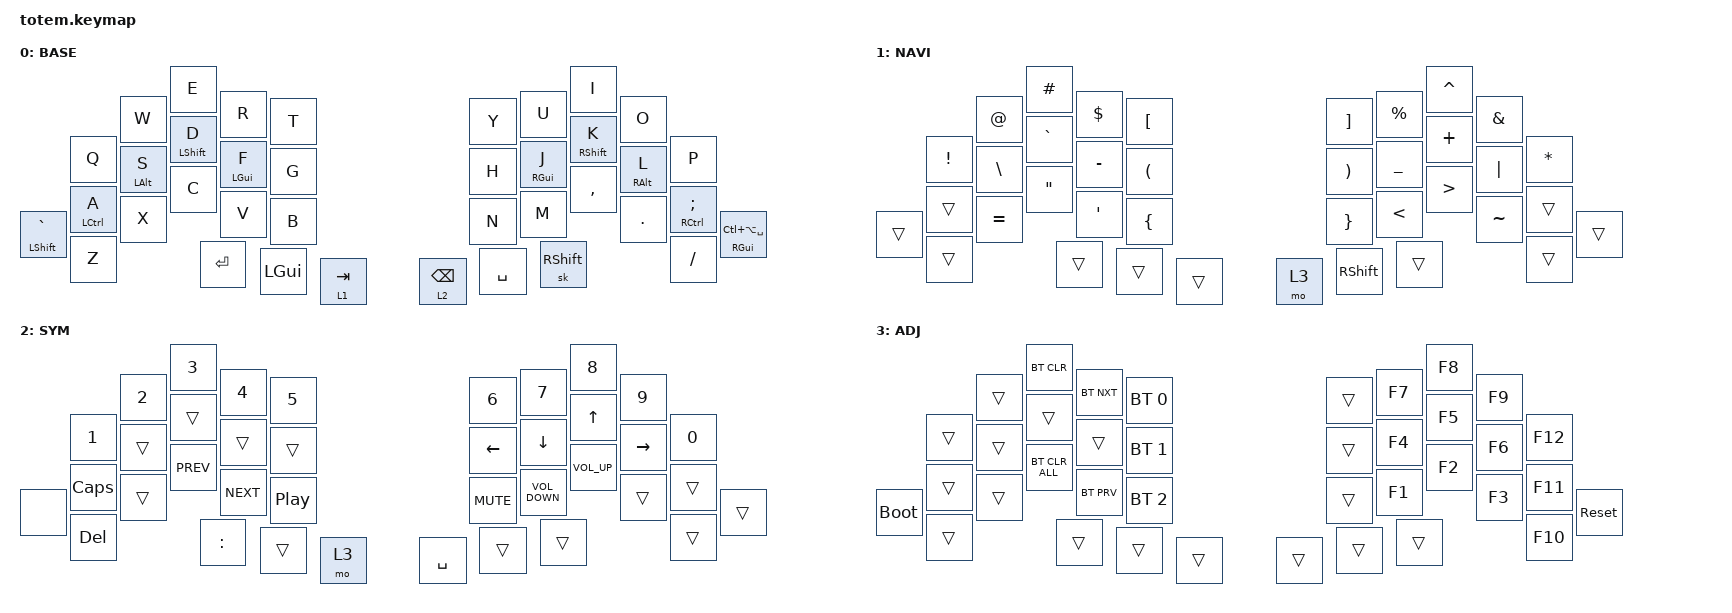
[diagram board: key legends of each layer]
//
//                                                        ▀▀▀▀▀     ▀▀▀▀▀          ▀▀█▀▀
//                                                        ▄▀▀▀▄  ▄  ▄▀▀▀▄  ▄  ▄▀▀▀▄  █  ▄▀▀▀▄
//                                                        █   █  █  █   █  █  █   █  █  █   █
//                                                         ▀▀▀   █   ▀▀▀   █   ▀▀▀   ▀   ▀▀▀
//                                                               █      ▄▄▄█▄▄▄    █   █  
//                                                               ▀      █  █  █     █▄█
//                                                             ▀▀▀▀▀    █  █  █      ▀
//                                                                      ▀  ▀  ▀
//
// ▄▄▄▄▄▄▄▄▄▄▄▄▄▄▄▄▄▄▄▄▄▄▄▄▄▄▄▄▄▄▄▄▄▄▄▄▄▄▄▄▄▄▄▄▄▄▄▄▄▄▄▄▄▄▄▄▄▄▄▄▄▄▄▄▄▄▄▄▄▄▄▄▄▄▄▄▄▄▄▄▄▄▄▄▄▄▄▄▄▄▄▄▄▄▄▄▄▄▄▄▄▄▄▄▄▄▄▄▄▄▄▄▄▄▄▄▄▄▄▄▄▄▄▄▄▄▄▄▄▄▄▄▄▄▄▄▄▄▄▄▄▄▄▄▄▄▄▄▄

#include "zmk-helpers/helper.h"

#define BASE 0
#define NAV  1
#define SYM  2
#define ADJ  3
#define TVP1 4
#define TVP2 5

#include "zmk-helpers/key-labels/totem.h"
#include <behaviors.dtsi>
#include <dt-bindings/zmk/bt.h>
#include <dt-bindings/zmk/keys.h>

#define KEYS_L LT0 LT1 LT2 LT3 LT4 LM0 LM1 LM2 LM3 LM4 LB0 LB1 LB2 LB3 LB4 LB5
#define KEYS_R RT0 RT1 RT2 RT3 RT4 RM0 RM1 RM2 RM3 RM4 RB0 RB1 RB2 RB3 RB4 RB5
#define KEYS_T LH2 LH1 LH0 RH0 RH1 RH2

// ================================
// Make sure this file is included before all other files
/*
 * Layer Tap Settings
 */

&lt {
    // Increase layer tap time

    tapping-term-ms = <300>;

    // Quickly tap-tap-holding the lt button will repeat the tap behavior
    // For example enter-enter-hold, will output multiple enter while you
    // keep holding the key.
    // But holding enter without double tapping, will activate the layer.

    quick-tap-ms = <200>;
    flavor = "balanced";
};

// ================================
// ================================
// Make sure settings.dtsi is included before this file

#define HM_TAPPING_TERM 300
#define HM_TAPPING_TERM_FAST 200
#define HM_PRIOR_IDLE 150

/ {
    behaviors {
        // Positional Homerow mods
        // Homerow mods that prevent accidental activations when rolling keys,
        // such as when typing `st` or `ne` on colemak-dh layouts or `as` on
        // qwerty.
        //
        // Works by only allowing a mod to activate within tapping-term if
        // it's on the opposite side of the keyboard or on the same side thumb
        // keys.
        // Further optimization using urob's timerless homerow mods method:
        // https://github.com/urob/zmk-config#timeless-homerow-mods

        hm_l: homerow_mods_left {
            compatible = "zmk,behavior-hold-tap";
            #binding-cells = <2>;
            bindings = <&kp>, <&kp>;

            flavor = "balanced";
            tapping-term-ms = <HM_TAPPING_TERM>;
            quick-tap-ms = <175>;                // repeat on tap-into-hold
            require-prior-idle-ms = <HM_PRIOR_IDLE>;
            hold-trigger-key-positions = <KEYS_R KEYS_T>;
            hold-trigger-on-release;
        };

        hm_r: homerow_mods_right {
            compatible = "zmk,behavior-hold-tap";
            #binding-cells = <2>;
            bindings = <&kp>, <&kp>;

            flavor = "balanced";
            tapping-term-ms = <HM_TAPPING_TERM>;
            quick-tap-ms = <175>;
            require-prior-idle-ms = <HM_PRIOR_IDLE>;
            hold-trigger-key-positions = <KEYS_L KEYS_T>;
            hold-trigger-on-release;
        };

        // Positional Homerow mods for shift
        // Use faster tapping term and disable some features that may
        // cause false negatives.

        hm_shift_l: hm_shift_l {
            compatible = "zmk,behavior-hold-tap";
            #binding-cells = <2>;
            bindings = <&kp>, <&kp>;

            flavor = "balanced";
            tapping-term-ms = <HM_TAPPING_TERM_FAST>;
            quick-tap-ms = <175>;
            require-prior-idle-ms = <HM_PRIOR_IDLE>;
            hold-trigger-key-positions = <KEYS_R KEYS_T>;

            // hold-trigger-on-release;
        };

        hm_shift_r: hm_shift_r {
            compatible = "zmk,behavior-hold-tap";
            #binding-cells = <2>;
            bindings = <&kp>, <&kp>;

            flavor = "balanced";
            tapping-term-ms = <HM_TAPPING_TERM_FAST>;
            quick-tap-ms = <175>;
            require-prior-idle-ms = <HM_PRIOR_IDLE>;
            hold-trigger-key-positions = <KEYS_L KEYS_T>;

            // hold-trigger-on-release;
        };

        /*
         * Non-Positional Homerow Mods
         * Used for &mm_grescm_gui behavior on left hand.
         *
         * Usage: &hm LSHFT T
         * Tap: T
         * Tap-Tap-Hold: Repeat T
         * Hold: LSHIFT
         */

        hm: homerow_mods {
            compatible = "zmk,behavior-hold-tap";
            #binding-cells = <2>;
            bindings = <&kp>, <&kp>;

            flavor = "balanced";
            tapping-term-ms = <HM_TAPPING_TERM>;
            quick-tap-ms = <200>;
        };
    };
};

// ================================
/* source keypos definitions */

&mt {
    quick-tap-ms = <100>;
    global-quick-tap;
    flavor = "tap-preferred";
    tapping-term-ms = <170>;
};

/ {
    combos {
        compatible = "zmk,combos";

        dash {
            bindings = <&kp ESCAPE>;
            key-positions = <13 12>;
        };

        c4 {
            bindings = <&kp MINUS>;
            key-positions = <16 17>;
        };

        c5 {
            bindings = <&kp RG(GRAVE)>;
            key-positions = <24 23>;
        };

        c6 {
            bindings = <&kp RG(TAB)>;
            key-positions = <27 28>;
        };

        forward-slash {
            bindings = <&kp BSLH>;
            key-positions = <4 5>;
        };

        pipe {
            bindings = <&kp PIPE>;
            key-positions = <14 15>;
        };

        enter {
            bindings = <&kp ENTER>;
            key-positions = <18 19 17>;
        };

        screenshot {
            bindings = <&kp LG(LS(NUMBER_4))>;
            key-positions = <0 1>;
        };

        base_layer {
            bindings = <&tog 0>;
            key-positions = <6 7 8 9>;
        };

        swap_input {
            bindings = <&kp LA(LC(SPACE))>;
            key-positions = <21 22 23>;
        };

        intellij_prev {
            bindings = <&kp LG(LEFT_BRACKET)>;
            key-positions = <11 12>;
        };

        intellij_fwd {
            bindings = <&kp LG(RIGHT_BRACKET)>;
            key-positions = <17 18>;
        };

        screenshot_window {
            bindings = <&kp LG(LS(NUMBER_5))>;
            key-positions = <9 0>;
        };
    };

    macros {
        gif: gif {
            label = "giphy";
            compatible = "zmk,behavior-macro";
            #binding-cells = <0>;
            bindings =
                <&macro_press>,
                <&kp LSHFT>,
                <&macro_tap>,
                <&kp N2>,
                <&macro_release>,
                <&kp LSHFT>,
                <&macro_tap>,
                <&kp G &kp I &kp F>;
        };
    };

    keymap {
        compatible = "zmk,keymap";

        // ▄▄▄▄▄▄▄▄▄▄▄▄▄▄▄▄▄▄▄▄▄▄▄▄▄▄▄▄▄▄▄▄▄▄▄▄▄▄▄▄▄▄▄▄▄▄▄▄▄▄▄▄▄▄▄▄▄▄▄▄▄▄▄▄▄▄▄▄▄▄▄▄▄▄▄▄▄▄▄▄▄▄▄▄▄▄▄▄▄▄▄▄▄▄▄▄▄▄▄▄▄▄▄▄▄▄▄▄▄▄▄▄▄▄▄▄▄▄▄▄▄▄▄▄▄▄▄▄▄▄▄▄▄▄▄▄▄▄▄▄▄▄▄▄▄▄▄▄▄

        base_layer {
            // ┏━━━━━━━━━━━━━━━━━━━━━━━━━━━━━━━━━━━━━━━┓

            label = "BASE";

            // ┗━━━━━━━━━━━━━━━━━━━━━━━━━━━━━━━━━━━━━━━┛
            //             ┏━━━━━━━━━━━┳━━━━━━━━━━━┳━━━━━━━━━━━┳━━━━━━━━━━━┳━━━━━━━━━━━┓   ┏━━━━━━━━━━━┳━━━━━━━━━━━┳━━━━━━━━━━━┳━━━━━━━━━━━┳━━━━━━━━━━━┓
            //             ┃     Q     ┃     W     ┃     F     ┃     P     ┃     G     ┃   ┃     J     ┃     L     ┃     U     ┃     Y     ┃     ;     ┃
            //             ┣━━━━━━━━━━━╋━━━━━━━━━━━╋━━━━━━━━━━━╋━━━━━━━━━━━╋━━━━━━━━━━━┫   ┣━━━━━━━━━━━╋━━━━━━━━━━━╋━━━━━━━━━━━╋━━━━━━━━━━━╋━━━━━━━━━━━┫
            //             ┃     A     ┃     R     ┃     S     ┃     T     ┃     D     ┃   ┃     H     ┃     N     ┃     E     ┃     I     ┃     O     ┃
            // ┏━━━━━━━━━━━╋━━━━━━━━━━━╋━━━━━━━━━━━╋━━━━━━━━━━━╋━━━━━━━━━━━╋━━━━━━━━━━━┫   ┣━━━━━━━━━━━╋━━━━━━━━━━━╋━━━━━━━━━━━╋━━━━━━━━━━━╋━━━━━━━━━━━╋━━━━━━━━━━━┓
            // ┃     Q     ┃     Z     ┃     X     ┃     C     ┃     V     ┃     B     ┃   ┃     K     ┃     M     ┃     ,     ┃     .     ┃     /     ┃     \     ┃
            // ┗━━━━━━━━━━━┻━━━━━━━━━━━┻━━━━━━━━━━━╋━━━━━━━━━━━╋━━━━━━━━━━━╋━━━━━━━━━━━┫   ┣━━━━━━━━━━━╋━━━━━━━━━━━╋━━━━━━━━━━━╋━━━━━━━━━━━┻━━━━━━━━━━━┻━━━━━━━━━━━┛
            //                                     ┃    DEL    ┃    TAB    ┃    SPC    ┃   ┃   ENTER   ┃           ┃   BSPC    ┃
            //                                     ┗━━━━━━━━━━━┻━━━━━━━━━━━┻━━━━━━━━━━━┛   ┗━━━━━━━━━━━┻━━━━━━━━━━━┻━━━━━━━━━━━┛

            bindings = <
                              &kp Q          &kp W             &kp E                     &kp R             &kp T        &kp Y            &kp U              &kp I                      &kp O              &kp P
                              &hm_l LCTRL A  &hm_l LEFT_ALT S  &hm_shift_l LEFT_SHIFT D  &hm_l LEFT_GUI F  &kp G        &kp H            &hm_r RIGHT_GUI J  &hm_shift_r RIGHT_SHIFT K  &hm_r RIGHT_ALT L  &hm_r RCTRL SEMI
&hm_shift_l LEFT_SHIFT GRAVE  &kp Z          &kp X             &kp C                     &kp V             &kp B        &kp N            &kp M              &kp COMMA                  &kp DOT            &kp FSLH          &hm_r RIGHT_GUI LC(LA(SPACE))
                                                               &kp ENTER                 &kp LEFT_GUI      &lt 1 TAB    &lt 2 BACKSPACE  &kp SPACE          &sk RIGHT_SHIFT
            >;
        };

        // ▄▄▄▄▄▄▄▄▄▄▄▄▄▄▄▄▄▄▄▄▄▄▄▄▄▄▄▄▄▄▄▄▄▄▄▄▄▄▄▄▄▄▄▄▄▄▄▄▄▄▄▄▄▄▄▄▄▄▄▄▄▄▄▄▄▄▄▄▄▄▄▄▄▄▄▄▄▄▄▄▄▄▄▄▄▄▄▄▄▄▄▄▄▄▄▄▄▄▄▄▄▄▄▄▄▄▄▄▄▄▄▄▄▄▄▄▄▄▄▄▄▄▄▄▄▄▄▄▄▄▄▄▄▄▄▄▄▄▄▄▄▄▄▄▄▄▄▄▄

        sym_layer {
            // ┏━━━━━━━━━━━━━━━━━━━━━━━━━━━━━━━━━━━━━━━┓

            label = "NAVI";

            // ┗━━━━━━━━━━━━━━━━━━━━━━━━━━━━━━━━━━━━━━━┛
            //             ┏━━━━━━━━━━━┳━━━━━━━━━━━┳━━━━━━━━━━━┳━━━━━━━━━━━┳━━━━━━━━━━━┓   ┏━━━━━━━━━━━┳━━━━━━━━━━━┳━━━━━━━━━━━┳━━━━━━━━━━━┳━━━━━━━━━━━┓
            //             ┃           ┃           ┃     UP    ┃           ┃     {     ┃   ┃     }     ┃     7     ┃     8     ┃     9     ┃     +     ┃
            //             ┣━━━━━━━━━━━╋━━━━━━━━━━━╋━━━━━━━━━━━╋━━━━━━━━━━━╋━━━━━━━━━━━┫   ┣━━━━━━━━━━━╋━━━━━━━━━━━╋━━━━━━━━━━━╋━━━━━━━━━━━╋━━━━━━━━━━━┫
            //             ┃   SHIFT   ┃   LEFT    ┃    DOWN   ┃   RIGHT   ┃     [     ┃   ┃     ]     ┃     4     ┃     5     ┃     6     ┃     -     ┃
            // ┏━━━━━━━━━━━╋━━━━━━━━━━━╋━━━━━━━━━━━╋━━━━━━━━━━━╋━━━━━━━━━━━╋━━━━━━━━━━━┫   ┣━━━━━━━━━━━╋━━━━━━━━━━━╋━━━━━━━━━━━╋━━━━━━━━━━━╋━━━━━━━━━━━╋━━━━━━━━━━━┓
            // ┃           ┃           ┃   P UP    ┃  C LOCK   ┃  P DOWN   ┃     (     ┃   ┃     )     ┃     1     ┃     2     ┃     3     ┃     *     ┃           ┃
            // ┗━━━━━━━━━━━┻━━━━━━━━━━━┻━━━━━━━━━━━╋━━━━━━━━━━━╋━━━━━━━━━━━╋━━━━━━━━━━━┫   ┣━━━━━━━━━━━╋━━━━━━━━━━━╋━━━━━━━━━━━╋━━━━━━━━━━━┻━━━━━━━━━━━┻━━━━━━━━━━━┛
            //                                     ┃           ┃    TAB    ┃    SPC    ┃   ┃    DEL    ┃     0     ┃           ┃
            //                                     ┗━━━━━━━━━━━┻━━━━━━━━━━━┻━━━━━━━━━━━┛   ┗━━━━━━━━━━━┻━━━━━━━━━━━┻━━━━━━━━━━━┛

            bindings = <
        &kp EXCLAMATION  &kp AT_SIGN    &kp HASH           &kp DOLLAR  &kp LEFT_BRACKET        &kp RIGHT_BRACKET      &kp PERCENT    &kp CARET         &kp AMPERSAND  &kp ASTERISK
        &trans           &kp BACKSLASH  &kp GRAVE          &kp MINUS   &kp LEFT_PARENTHESIS    &kp RIGHT_PARENTHESIS  &kp UNDER      &kp PLUS          &kp PIPE       &trans
&trans  &trans           &kp EQUAL      &kp DOUBLE_QUOTES  &kp SQT     &kp LEFT_BRACE          &kp RIGHT_BRACE        &kp LESS_THAN  &kp GREATER_THAN  &kp TILDE      &trans        &trans
                                        &trans             &trans      &trans                  &mo 3                  &kp RSHIFT     &trans
            >;
        };

        // ▄▄▄▄▄▄▄▄▄▄▄▄▄▄▄▄▄▄▄▄▄▄▄▄▄▄▄▄▄▄▄▄▄▄▄▄▄▄▄▄▄▄▄▄▄▄▄▄▄▄▄▄▄▄▄▄▄▄▄▄▄▄▄▄▄▄▄▄▄▄▄▄▄▄▄▄▄▄▄▄▄▄▄▄▄▄▄▄▄▄▄▄▄▄▄▄▄▄▄▄▄▄▄▄▄▄▄▄▄▄▄▄▄▄▄▄▄▄▄▄▄▄▄▄▄▄▄▄▄▄▄▄▄▄▄▄▄▄▄▄▄▄▄▄▄▄▄▄▄

        nav_layer {
            // ┏━━━━━━━━━━━━━━━━━━━━━━━━━━━━━━━━━━━━━━━┓

            label = "SYM";

            // ┗━━━━━━━━━━━━━━━━━━━━━━━━━━━━━━━━━━━━━━━┛
            //             ┏━━━━━━━━━━━┳━━━━━━━━━━━┳━━━━━━━━━━━┳━━━━━━━━━━━┳━━━━━━━━━━━┓   ┏━━━━━━━━━━━┳━━━━━━━━━━━┳━━━━━━━━━━━┳━━━━━━━━━━━┳━━━━━━━━━━━┓
            //             ┃     !     ┃     @     ┃     #     ┃     $     ┃     %     ┃   ┃     ˆ     ┃     &     ┃     Ü     ┃     '     ┃     "     ┃
            //             ┣━━━━━━━━━━━╋━━━━━━━━━━━╋━━━━━━━━━━━╋━━━━━━━━━━━╋━━━━━━━━━━━┫   ┣━━━━━━━━━━━╋━━━━━━━━━━━╋━━━━━━━━━━━╋━━━━━━━━━━━╋━━━━━━━━━━━┫
            //             ┃     Ä     ┃           ┃    SZ     ┃           ┃           ┃   ┃   MUTE    ┃   YEN     ┃   EURO    ┃  POUND    ┃     Ö     ┃
            // ┏━━━━━━━━━━━╋━━━━━━━━━━━╋━━━━━━━━━━━╋━━━━━━━━━━━╋━━━━━━━━━━━╋━━━━━━━━━━━┫   ┣━━━━━━━━━━━╋━━━━━━━━━━━╋━━━━━━━━━━━╋━━━━━━━━━━━╋━━━━━━━━━━━╋━━━━━━━━━━━┓
            // ┃           ┃  EMAIL1   ┃  EMAIL2   ┃           ┃           ┃           ┃   ┃   VOL-    ┃   VOL+    ┃   LAST    ┃   NEXT    ┃     \     ┃           ┃
            // ┗━━━━━━━━━━━┻━━━━━━━━━━━┻━━━━━━━━━━━╋━━━━━━━━━━━╋━━━━━━━━━━━╋━━━━━━━━━━━┫   ┣━━━━━━━━━━━╋━━━━━━━━━━━╋━━━━━━━━━━━╋━━━━━━━━━━━┻━━━━━━━━━━━┻━━━━━━━━━━━┛
            //                                     ┃           ┃    GIF    ┃    ADJ    ┃   ┃           ┃           ┃           ┃
            //                                     ┗━━━━━━━━━━━┻━━━━━━━━━━━┻━━━━━━━━━━━┛   ┗━━━━━━━━━━━┻━━━━━━━━━━━┻━━━━━━━━━━━┛

            bindings = <
       &kp NUMBER_1  &kp NUMBER_2  &kp NUMBER_3  &kp NUMBER_4  &kp N5              &kp NUMBER_6  &kp N7             &kp N8           &kp N9     &kp N0
       &kp CAPS      &trans        &trans        &trans        &trans              &kp LEFT      &kp DOWN           &kp UP           &kp RIGHT  &trans
&none  &kp DEL       &trans        &kp C_PREV    &kp C_NEXT    &kp C_PLAY_PAUSE    &kp K_MUTE    &kp C_VOLUME_DOWN  &kp C_VOLUME_UP  &trans     &trans  &trans
                                   &kp COLON     &trans        &mo 3               &kp SPACE     &trans             &trans
            >;
        };

        // ▄▄▄▄▄▄▄▄▄▄▄▄▄▄▄▄▄▄▄▄▄▄▄▄▄▄▄▄▄▄▄▄▄▄▄▄▄▄▄▄▄▄▄▄▄▄▄▄▄▄▄▄▄▄▄▄▄▄▄▄▄▄▄▄▄▄▄▄▄▄▄▄▄▄▄▄▄▄▄▄▄▄▄▄▄▄▄▄▄▄▄▄▄▄▄▄▄▄▄▄▄▄▄▄▄▄▄▄▄▄▄▄▄▄▄▄▄▄▄▄▄▄▄▄▄▄▄▄▄▄▄▄▄▄▄▄▄▄▄▄▄▄▄▄▄▄▄▄▄

        adjust_layer {
            // ┏━━━━━━━━━━━━━━━━━━━━━━━━━━━━━━━━━━━━━━━┓

            label = "ADJ";

            // ┗━━━━━━━━━━━━━━━━━━━━━━━━━━━━━━━━━━━━━━━┛
            //             ┏━━━━━━━━━━━┳━━━━━━━━━━━┳━━━━━━━━━━━┳━━━━━━━━━━━┳━━━━━━━━━━━┓   ┏━━━━━━━━━━━┳━━━━━━━━━━━┳━━━━━━━━━━━┳━━━━━━━━━━━┳━━━━━━━━━━━┓
            //             ┃   RESET   ┃ BT CLEAR  ┃  OUT TOG  ┃           ┃           ┃   ┃           ┃    F7     ┃    F8     ┃    F9     ┃    F12    ┃
            //             ┣━━━━━━━━━━━╋━━━━━━━━━━━╋━━━━━━━━━━━╋━━━━━━━━━━━╋━━━━━━━━━━━┫   ┣━━━━━━━━━━━╋━━━━━━━━━━━╋━━━━━━━━━━━╋━━━━━━━━━━━╋━━━━━━━━━━━┫
            //             ┃ BOOTLOAD  ┃ BT NEXT   ┃           ┃           ┃           ┃   ┃           ┃    F4     ┃    F5     ┃    F6     ┃    F11    ┃
            // ┏━━━━━━━━━━━╋━━━━━━━━━━━╋━━━━━━━━━━━╋━━━━━━━━━━━╋━━━━━━━━━━━╋━━━━━━━━━━━┫   ┣━━━━━━━━━━━╋━━━━━━━━━━━╋━━━━━━━━━━━╋━━━━━━━━━━━╋━━━━━━━━━━━╋━━━━━━━━━━━┓
            // ┃           ┃           ┃ BT PREV   ┃           ┃           ┃           ┃   ┃           ┃    F1     ┃    F2     ┃    F3     ┃    F10    ┃           ┃
            // ┗━━━━━━━━━━━┻━━━━━━━━━━━┻━━━━━━━━━━━╋━━━━━━━━━━━╋━━━━━━━━━━━╋━━━━━━━━━━━┫   ┣━━━━━━━━━━━╋━━━━━━━━━━━╋━━━━━━━━━━━╋━━━━━━━━━━━┻━━━━━━━━━━━┻━━━━━━━━━━━┛
            //                                     ┃           ┃           ┃           ┃   ┃           ┃           ┃           ┃
            //                                     ┗━━━━━━━━━━━┻━━━━━━━━━━━┻━━━━━━━━━━━┛   ┗━━━━━━━━━━━┻━━━━━━━━━━━┻━━━━━━━━━━━┛

            bindings = <
             &trans  &trans  &bt BT_CLR      &bt BT_NXT  &bt BT_SEL 0    &trans  &kp F7  &kp F8  &kp F9  &kp F12
             &trans  &trans  &trans          &trans      &bt BT_SEL 1    &trans  &kp F4  &kp F5  &kp F6  &kp F11
&bootloader  &trans  &trans  &bt BT_CLR_ALL  &bt BT_PRV  &bt BT_SEL 2    &trans  &kp F1  &kp F2  &kp F3  &kp F10  &sys_reset
                             &trans          &trans      &trans          &trans  &trans  &trans
            >;
        };

        // ▄▄▄▄▄▄▄▄▄▄▄▄▄▄▄▄▄▄▄▄▄▄▄▄▄▄▄▄▄▄▄▄▄▄▄▄▄▄▄▄▄▄▄▄▄▄▄▄▄▄▄▄▄▄▄▄▄▄▄▄▄▄▄▄▄▄▄▄▄▄▄▄▄▄▄▄▄▄▄▄▄▄▄▄▄▄▄▄▄▄▄▄▄▄▄▄▄▄▄▄▄▄▄▄▄▄▄▄▄▄▄▄▄▄▄▄▄▄▄▄▄▄▄▄▄▄▄▄▄▄▄▄▄▄▄▄▄▄▄▄▄▄▄▄▄▄▄▄▄
        // ▄▄▄▄▄▄▄▄▄▄▄▄▄▄▄▄▄▄▄▄▄▄▄▄▄▄▄▄▄▄▄▄▄▄▄▄▄▄▄▄▄▄▄▄▄▄▄▄▄▄▄▄▄▄▄▄▄▄▄▄▄▄▄▄▄▄▄▄▄▄▄▄▄▄▄▄▄▄▄▄▄▄▄▄▄▄▄▄▄▄▄▄▄▄▄▄▄▄▄▄▄▄▄▄▄▄▄▄▄▄▄▄▄▄▄▄▄▄▄▄▄▄▄▄▄▄▄▄▄▄▄▄▄▄▄▄▄▄▄▄▄▄▄▄▄▄▄▄▄
    };
};
